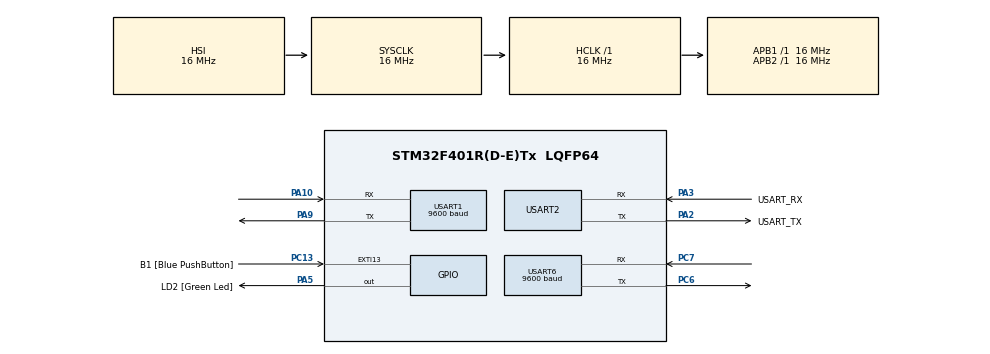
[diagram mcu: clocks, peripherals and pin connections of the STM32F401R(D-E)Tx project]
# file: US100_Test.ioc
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Mcu.Family=STM32F4
Mcu.Name=STM32F401R(D-E)Tx
Mcu.Package=LQFP64
NVIC.PriorityGroup=NVIC_PRIORITYGROUP_0
NVIC.USART1_IRQn=true\:0\:0\:false\:false\:true\:true\:true\:true
NVIC.USART6_IRQn=true\:0\:0\:false\:false\:true\:true\:true\:true
PA10.Mode=Asynchronous
PA10.Signal=USART1_RX
PA13.GPIO_Label=TMS
PA13.Mode=Serial_Wire
PA13.Signal=SYS_JTMS-SWDIO
PA14.GPIO_Label=TCK
PA14.Mode=Serial_Wire
PA14.Signal=SYS_JTCK-SWCLK
PA2.GPIO_Label=USART_TX
PA2.GPIO_Mode=GPIO_MODE_AF_PP
PA2.GPIO_PuPd=GPIO_NOPULL
PA2.GPIO_Speed=GPIO_SPEED_FREQ_LOW
PA2.Mode=Asynchronous
PA2.Signal=USART2_TX
PA3.GPIO_Label=USART_RX
PA3.GPIO_Mode=GPIO_MODE_AF_PP
PA3.GPIO_PuPd=GPIO_NOPULL
PA3.GPIO_Speed=GPIO_SPEED_FREQ_LOW
PA3.Mode=Asynchronous
PA3.Signal=USART2_RX
PA5.GPIO_Label=LD2 [Green Led]
PA5.GPIO_Mode=GPIO_MODE_OUTPUT_PP
PA5.GPIO_PuPd=GPIO_NOPULL
PA5.GPIO_Speed=GPIO_SPEED_FREQ_LOW
PA5.Signal=GPIO_Output
PA9.Mode=Asynchronous
PA9.Signal=USART1_TX
PB3.GPIO_Label=SWO
PB3.Signal=SYS_JTDO-SWO
PC13-ANTI_TAMP.GPIO_Label=B1 [Blue PushButton]
PC13-ANTI_TAMP.GPIO_ModeDefaultEXTI=GPIO_MODE_IT_FALLING
PC13-ANTI_TAMP.GPIO_PuPd=GPIO_NOPULL
PC13-ANTI_TAMP.Signal=GPXTI13
PC14-OSC32_IN.Mode=LSE-External-Oscillator
PC14-OSC32_IN.Signal=RCC_OSC32_IN
PC15-OSC32_OUT.Mode=LSE-External-Oscillator
PC15-OSC32_OUT.Signal=RCC_OSC32_OUT
PC6.Mode=Asynchronous
PC6.Signal=USART6_TX
PC7.Mode=Asynchronous
PC7.Signal=USART6_RX
PH0\ -\ OSC_IN.Mode=HSE-External-Clock-Source
PH0\ -\ OSC_IN.Signal=RCC_OSC_IN
PH1\ -\ OSC_OUT.Mode=HSE-External-Clock-Source
PH1\ -\ OSC_OUT.Signal=RCC_OSC_OUT
ProjectManager.HeapSize=0x200
ProjectManager.StackSize=0x400
ProjectManager.TargetToolchain=STM32CubeIDE
RCC.48MHZClocksFreq_Value=48000000
RCC.AHBFreq_Value=16000000
RCC.APB1Freq_Value=16000000
RCC.APB1TimFreq_Value=16000000
RCC.APB2Freq_Value=16000000
RCC.APB2TimFreq_Value=16000000
RCC.CortexFreq_Value=16000000
RCC.HCLKFreq_Value=16000000
RCC.HSE_VALUE=8000000
RCC.HSI_VALUE=16000000
RCC.PLLN=336
RCC.PLLP=RCC_PLLP_DIV4
RCC.PLLQ=7
RCC.SYSCLKFreq_VALUE=16000000
RCC.VCOOutputFreq_Value=336000000
USART1.BaudRate=9600
USART1.VirtualMode=VM_ASYNC
USART2.VirtualMode=VM_ASYNC
USART6.BaudRate=9600
USART6.VirtualMode=VM_ASYNC
board=NUCLEO-F401RE

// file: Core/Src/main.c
/* USER CODE BEGIN Header */
/**
  ******************************************************************************
  * @file           : main.c
  * @brief          : Main program body
  ******************************************************************************
  * @attention
  *
  * Copyright (c) 2024 STMicroelectronics.
  * All rights reserved.
  *
  * This software is licensed under terms that can be found in the LICENSE file
  * in the root directory of this software component.
  * If no LICENSE file comes with this software, it is provided AS-IS.
  *
  ******************************************************************************
  */
/* USER CODE END Header */
#include "main.h"

/* USER CODE BEGIN Includes */
#include <string.h>
#include <stdio.h>
/* USER CODE END Includes */

/* USER CODE BEGIN PD */
uint8_t cmd_dist = 0x55;
volatile uint8_t us100_Rx_flag = 0;
uint8_t us100_buffer[2] = {0};
uint8_t msg_buffer[64] = {0};
volatile uint16_t distance = 0;
/* USER CODE END PD */

UART_HandleTypeDef huart1;
UART_HandleTypeDef huart2;
UART_HandleTypeDef huart6;

void SystemClock_Config(void);
static void MX_GPIO_Init(void);
static void MX_USART2_UART_Init(void);
static void MX_USART1_UART_Init(void);
static void MX_USART6_UART_Init(void);

int main(void)
{

  /* USER CODE BEGIN 1 */
	uint8_t txd_msg_buffer[64] = {0};
  /* USER CODE END 1 */

  /* MCU Configuration--------------------------------------------------------*/

  /* Reset of all peripherals, Initializes the Flash interface and the Systick. */
  HAL_Init();

  /* Configure the system clock */
  SystemClock_Config();

  /* Initialize all configured peripherals */
  MX_GPIO_Init();
  MX_USART2_UART_Init();
  MX_USART1_UART_Init();
  MX_USART6_UART_Init();

  /* Infinite loop */
  /* USER CODE BEGIN WHILE */
  while (1)
  {
	 HAL_UART_Receive_IT(&huart1, us100_buffer, 2);
	 HAL_UART_Transmit(&huart1, &cmd_dist, 1, 500);

	 while (us100_Rx_flag == (00)) {};

    /* USER CODE END WHILE */

    /* USER CODE BEGIN 3 */
	distance = (us100_buffer[0] << 4) | us100_buffer[1];

	sprintf((char*)txd_msg_buffer, "Distance to object (in mm): %d \r \n", distance);
	HAL_UART_Transmit(&huart6, txd_msg_buffer, strlen((char*)txd_msg_buffer), 1000);
  }
  /* USER CODE END 3 */
}

void SystemClock_Config(void)
{
  RCC_OscInitTypeDef RCC_OscInitStruct = {0};
  RCC_ClkInitTypeDef RCC_ClkInitStruct = {0};

  /** Configure the main internal regulator output voltage
  */
  __HAL_RCC_PWR_CLK_ENABLE();
  __HAL_PWR_VOLTAGESCALING_CONFIG(PWR_REGULATOR_VOLTAGE_SCALE2);

  /** Initializes the RCC Oscillators according to the specified parameters
  * in the RCC_OscInitTypeDef structure.
  */
  RCC_OscInitStruct.OscillatorType = RCC_OSCILLATORTYPE_HSI;
  RCC_OscInitStruct.HSIState = RCC_HSI_ON;
  RCC_OscInitStruct.HSICalibrationValue = RCC_HSICALIBRATION_DEFAULT;
  RCC_OscInitStruct.PLL.PLLState = RCC_PLL_NONE;
  if (HAL_RCC_OscConfig(&RCC_OscInitStruct) != HAL_OK)
  {
    Error_Handler();
  }

  /** Initializes the CPU, AHB and APB buses clocks
  */
  RCC_ClkInitStruct.ClockType = RCC_CLOCKTYPE_HCLK|RCC_CLOCKTYPE_SYSCLK
                              |RCC_CLOCKTYPE_PCLK1|RCC_CLOCKTYPE_PCLK2;
  RCC_ClkInitStruct.SYSCLKSource = RCC_SYSCLKSOURCE_HSI;
  RCC_ClkInitStruct.AHBCLKDivider = RCC_SYSCLK_DIV1;
  RCC_ClkInitStruct.APB1CLKDivider = RCC_HCLK_DIV1;
  RCC_ClkInitStruct.APB2CLKDivider = RCC_HCLK_DIV1;

  if (HAL_RCC_ClockConfig(&RCC_ClkInitStruct, FLASH_LATENCY_0) != HAL_OK)
  {
    Error_Handler();
  }
}

static void MX_USART1_UART_Init(void)
{

  huart1.Instance = USART1;
  huart1.Init.BaudRate = 9600;
  huart1.Init.WordLength = UART_WORDLENGTH_8B;
  huart1.Init.StopBits = UART_STOPBITS_1;
  huart1.Init.Parity = UART_PARITY_NONE;
  huart1.Init.Mode = UART_MODE_TX_RX;
  huart1.Init.HwFlowCtl = UART_HWCONTROL_NONE;
  huart1.Init.OverSampling = UART_OVERSAMPLING_16;
  if (HAL_UART_Init(&huart1) != HAL_OK)
  {
    Error_Handler();
  }

}

static void MX_USART2_UART_Init(void)
{

  huart2.Instance = USART2;
  huart2.Init.BaudRate = 115200;
  huart2.Init.WordLength = UART_WORDLENGTH_8B;
  huart2.Init.StopBits = UART_STOPBITS_1;
  huart2.Init.Parity = UART_PARITY_NONE;
  huart2.Init.Mode = UART_MODE_TX_RX;
  huart2.Init.HwFlowCtl = UART_HWCONTROL_NONE;
  huart2.Init.OverSampling = UART_OVERSAMPLING_16;
  if (HAL_UART_Init(&huart2) != HAL_OK)
  {
    Error_Handler();
  }

}

static void MX_USART6_UART_Init(void)
{

  huart6.Instance = USART6;
  huart6.Init.BaudRate = 9600;
  huart6.Init.WordLength = UART_WORDLENGTH_8B;
  huart6.Init.StopBits = UART_STOPBITS_1;
  huart6.Init.Parity = UART_PARITY_NONE;
  huart6.Init.Mode = UART_MODE_TX_RX;
  huart6.Init.HwFlowCtl = UART_HWCONTROL_NONE;
  huart6.Init.OverSampling = UART_OVERSAMPLING_16;
  if (HAL_UART_Init(&huart6) != HAL_OK)
  {
    Error_Handler();
  }

}

static void MX_GPIO_Init(void)
{
  GPIO_InitTypeDef GPIO_InitStruct = {0};

  /* GPIO Ports Clock Enable */
  __HAL_RCC_GPIOC_CLK_ENABLE();
  __HAL_RCC_GPIOH_CLK_ENABLE();
  __HAL_RCC_GPIOA_CLK_ENABLE();
  __HAL_RCC_GPIOB_CLK_ENABLE();

  /*Configure GPIO pin Output Level */
  HAL_GPIO_WritePin(LD2_GPIO_Port, LD2_Pin, GPIO_PIN_RESET);

  /*Configure GPIO pin : B1_Pin */
  GPIO_InitStruct.Pin = B1_Pin;
  GPIO_InitStruct.Mode = GPIO_MODE_IT_FALLING;
  GPIO_InitStruct.Pull = GPIO_NOPULL;
  HAL_GPIO_Init(B1_GPIO_Port, &GPIO_InitStruct);

  /*Configure GPIO pin : LD2_Pin */
  GPIO_InitStruct.Pin = LD2_Pin;
  GPIO_InitStruct.Mode = GPIO_MODE_OUTPUT_PP;
  GPIO_InitStruct.Pull = GPIO_NOPULL;
  GPIO_InitStruct.Speed = GPIO_SPEED_FREQ_LOW;
  HAL_GPIO_Init(LD2_GPIO_Port, &GPIO_InitStruct);

}

/* USER CODE BEGIN 4 */
void HAL_UART_RxCpltCallback(UART_HandleTypeDef *huart) {
	if (huart->Instance == USART1) {
		us100_Rx_flag = 01;
	}
}
/* USER CODE END 4 */

void Error_Handler(void)
{
  __disable_irq();
  while (1)
  {
  }
}
